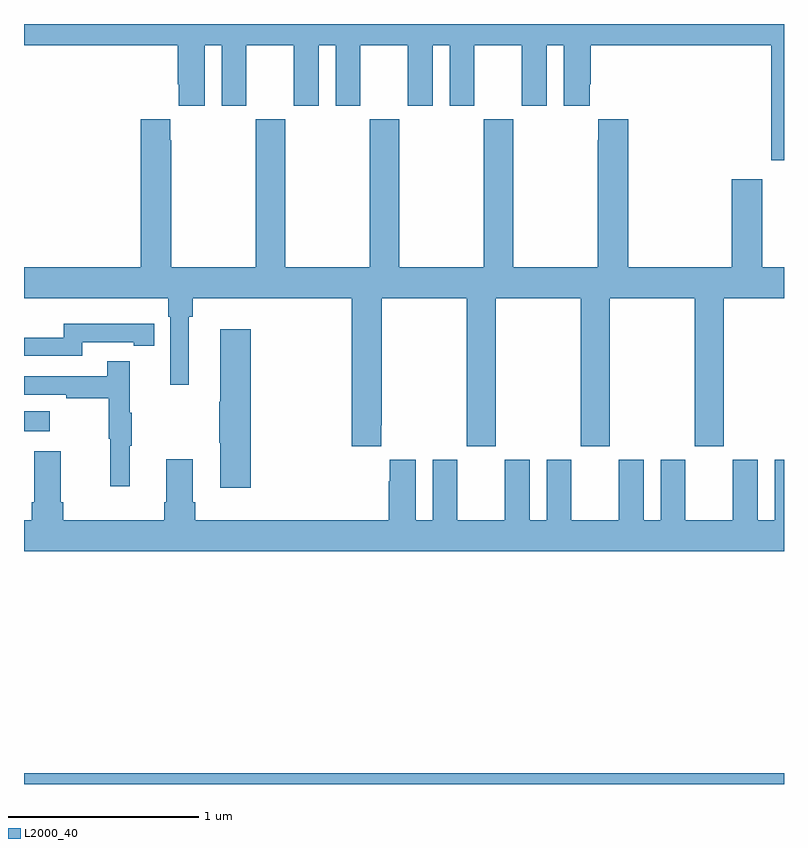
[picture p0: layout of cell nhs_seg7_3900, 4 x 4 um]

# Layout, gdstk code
import gdstk
lib = gdstk.Library(unit=1e-6, precision=1e-09)
def R(c, l, rs):  # rectangles x0, y0, x1, y1
    for r in rs: c.add(gdstk.rectangle(r[:2], r[2:], *l))
def P(c, l, *ps):  # polygons
    for p in ps: c.add(gdstk.Polygon(p, *l))
L2000_40 = (2000, 40)

nhs_seg7_3900 = lib.new_cell('nhs_seg7_3900')
R(nhs_seg7_3900, L2000_40, [(357,1058,361,1058.056), (357,1059.857,357.136,1059.961)])
P(nhs_seg7_3900, L2000_40, [(361,1062),(357,1062),(357,1061.888),(357.809,1061.888),(357.809,1061.683),(357.815,1061.683),(357.815,1061.571),(357.952,1061.571),(357.952,1061.888),(358.04,1061.888),(358.04,1061.571),(358.171,1061.571),(358.171,1061.888),(358.421,1061.888),(358.421,1061.571),(358.552,1061.571),(358.552,1061.888),(358.64,1061.888),(358.64,1061.571),(358.771,1061.571),(358.771,1061.888),(359.021,1061.888),(359.021,1061.571),(359.152,1061.571),(359.152,1061.888),(359.24,1061.888),(359.24,1061.571),(359.371,1061.571),(359.371,1061.888),(359.621,1061.888),(359.621,1061.571),(359.752,1061.571),(359.752,1061.888),(359.84,1061.888),(359.84,1061.571),(359.977,1061.571),(359.977,1061.683),(359.984,1061.683),(359.984,1061.888),(360.932,1061.888),(360.932,1061.282),(361,1061.282)],
  [(358.879,1059.889),(358.884,1059.889),(358.884,1060.556),(359.329,1060.556),(359.329,1059.777),(359.484,1059.777),(359.484,1060.556),(359.929,1060.556),(359.929,1059.777),(360.084,1059.777),(360.084,1060.556),(360.529,1060.556),(360.529,1059.777),(360.684,1059.777),(360.684,1060.556),(361,1060.556),(361,1060.72),(360.885,1060.72),(360.885,1061.182),(360.725,1061.182),(360.725,1060.72),(360.179,1060.72),(360.179,1061.5),(360.023,1061.5),(360.023,1061.387),(360.019,1061.387),(360.019,1060.72),(359.574,1060.72),(359.574,1061.5),(359.419,1061.5),(359.419,1060.72),(358.974,1060.72),(358.974,1061.5),(358.819,1061.5),(358.819,1060.72),(358.374,1060.72),(358.374,1061.5),(358.219,1061.5),(358.219,1060.72),(357.774,1060.72),(357.774,1061.387),(357.769,1061.387),(357.769,1061.5),(357.614,1061.5),(357.614,1060.72),(357,1060.72),(357,1060.556),(357.758,1060.556),(357.758,1060.46),(357.771,1060.46),(357.771,1060.101),(357.868,1060.101),(357.868,1060.46),(357.887,1060.46),(357.887,1060.556),(358.724,1060.556),(358.724,1059.777),(358.879,1059.777)],
  [(357.306,1060.326),(357.578,1060.326),(357.578,1060.306),(357.686,1060.306),(357.686,1060.422),(357.578,1060.422),(357.578,1060.423),(357.21,1060.423),(357.21,1060.35),(357,1060.35),(357,1060.254),(357.306,1060.254)],
  [(358.193,1060.393),(358.034,1060.393),(358.034,1060.013),(358.027,1060.013),(358.027,1059.796),(358.034,1059.796),(358.034,1059.558),(358.193,1059.558)],
  [(357.557,1059.779),(357.568,1059.779),(357.568,1059.953),(357.557,1059.953),(357.557,1060.225),(357.439,1060.225),(357.439,1060.146),(357,1060.146),(357,1060.05),(357.223,1060.05),(357.223,1060.03),(357.447,1060.03),(357.447,1059.816),(357.454,1059.816),(357.454,1059.567),(357.557,1059.567)],
  [(361,1059.706),(360.95,1059.706),(360.95,1059.388),(360.862,1059.388),(360.862,1059.706),(360.731,1059.706),(360.731,1059.388),(360.481,1059.388),(360.481,1059.706),(360.35,1059.706),(360.35,1059.388),(360.262,1059.388),(360.262,1059.706),(360.131,1059.706),(360.131,1059.388),(359.881,1059.388),(359.881,1059.706),(359.75,1059.706),(359.75,1059.388),(359.662,1059.388),(359.662,1059.706),(359.531,1059.706),(359.531,1059.388),(359.281,1059.388),(359.281,1059.706),(359.15,1059.706),(359.15,1059.388),(359.062,1059.388),(359.062,1059.706),(358.925,1059.706),(358.925,1059.593),(358.919,1059.593),(358.919,1059.388),(357.902,1059.388),(357.902,1059.484),(357.889,1059.484),(357.889,1059.709),(357.749,1059.709),(357.749,1059.484),(357.737,1059.484),(357.737,1059.388),(357.206,1059.388),(357.206,1059.484),(357.193,1059.484),(357.193,1059.751),(357.053,1059.751),(357.053,1059.484),(357.041,1059.484),(357.041,1059.388),(357,1059.388),(357,1059.224),(361,1059.224)])

lib.write_gds('nhs_seg7_3900.gds')
